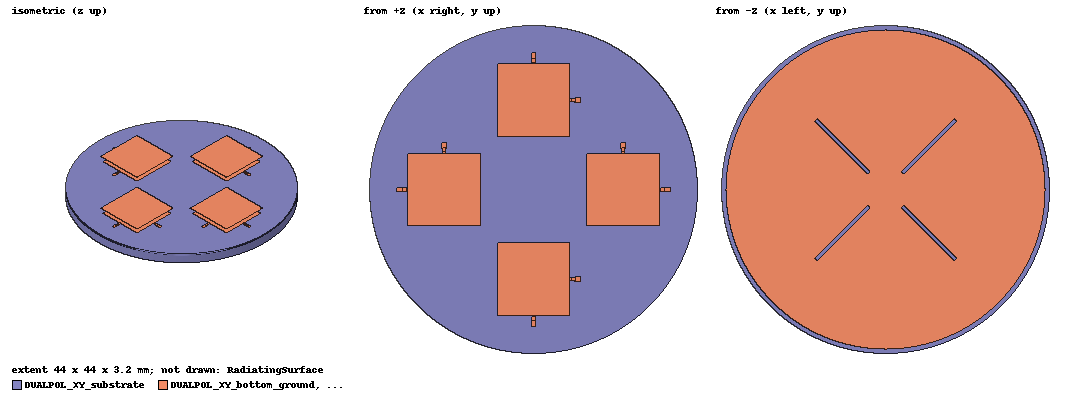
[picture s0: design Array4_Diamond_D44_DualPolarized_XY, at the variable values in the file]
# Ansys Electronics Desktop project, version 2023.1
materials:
  vacuum: permittivity=1
  RO4350B_custom_D44_Topology: permittivity=3.48 permeability=1 dielectric_loss_tangent=0.0037
  copper: permeability=0.999991 conductivity=58000000
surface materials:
  Steel-oxidised-surface

design Array4_Diamond_D44_DualPolarized_XY (HFSS, HFSS Modal Network, model units mm)
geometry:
  DUALPOL_XY_substrate [RO4350B_custom_D44_Topology] = cylinder(axis=Z, base_centre=(0mm, 0mm, 0mm), radius=22mm, height=2mm, segments=128)
  DUALPOL_XY_bottom_ground [copper] = circle(normal=Z, centre=(0mm, 0mm, 0mm), radius=21.4mm, segments=128)
  ground_isolation_slot_1 = polyline(z=0mm, xy in mm: (2.4112341, 2.1142493) (9.4823019, 9.1853171) (9.1853171, 9.4823019) (2.1142493, 2.4112341) (2.4112341, 2.1142493), closed, covered)
  ground_isolation_slot_2 = polyline(z=0mm, xy in mm: (-2.1142493, 2.4112341) (-9.1853171, 9.4823019) (-9.4823019, 9.1853171) (-2.4112341, 2.1142493) (-2.1142493, 2.4112341), closed, covered)
  ground_isolation_slot_3 = polyline(z=0mm, xy in mm: (-2.4112341, -2.1142493) (-9.4823019, -9.1853171) (-9.1853171, -9.4823019) (-2.1142493, -2.4112341) (-2.4112341, -2.1142493), closed, covered)
  ground_isolation_slot_4 = polyline(z=0mm, xy in mm: (2.1142493, -2.4112341) (9.1853171, -9.4823019) (9.4823019, -9.1853171) (2.4112341, -2.1142493) (2.1142493, -2.4112341), closed, covered)
  E1_dualfeed_square_patch [copper] = polyline(z=2mm, xy in mm: (7.4458153, -4.575) (16.595815, -4.575) (16.595815, 4.575) (7.4458153, 4.575) (7.4458153, -4.575), closed, covered)
  E1_dualpol_stacked_parasitic_patch [copper] = polyline(z=3.2mm, xy in mm: (7.1458153, -4.875) (16.895815, -4.875) (16.895815, 4.875) (7.1458153, 4.875) (7.1458153, -4.875), closed, covered)
  P1A_edge_match_section [copper] = polyline(z=2mm, xy in mm: (16.515815, -0.17) (17.075815, -0.17) (17.075815, 0.17) (16.515815, 0.17) (16.515815, -0.17), closed, covered)
  P1A_edge_transform_section [copper] = polyline(z=2mm, xy in mm: (16.995815, -0.25) (17.625815, -0.25) (17.625815, 0.25) (16.995815, 0.25) (16.995815, -0.25), closed, covered)
  P1A_edge_feedline [copper] = polyline(z=2mm, xy in mm: (17.545815, -0.29) (18.375815, -0.29) (18.375815, 0.29) (17.545815, 0.29) (17.545815, -0.29), closed, covered)
  P1A_lumped_port_sheet = polyline(x=18.375815mm, yz in mm: (-0.25, 0) (0.25, 0) (0.25, 2) (-0.25, 2) (-0.25, 0), closed, covered)
  P1B_edge_match_section [copper] = polyline(z=2mm, xy in mm: (11.850815, 4.495) (12.190815, 4.495) (12.190815, 5.055) (11.850815, 5.055) (11.850815, 4.495), closed, covered)
  P1B_edge_transform_section [copper] = polyline(z=2mm, xy in mm: (11.770815, 4.975) (12.270815, 4.975) (12.270815, 5.605) (11.770815, 5.605) (11.770815, 4.975), closed, covered)
  P1B_edge_feedline [copper] = polyline(z=2mm, xy in mm: (11.730815, 5.525) (12.310815, 5.525) (12.310815, 6.355) (11.730815, 6.355) (11.730815, 5.525), closed, covered)
  P1B_lumped_port_sheet = polyline(x=12.020815mm, yz in mm: (6.105, 0) (6.605, 0) (6.605, 2) (6.105, 2) (6.105, 0), closed, covered)
  E2_dualfeed_square_patch [copper] = polyline(z=2mm, xy in mm: (-4.575, 7.4458153) (4.575, 7.4458153) (4.575, 16.595815) (-4.575, 16.595815) (-4.575, 7.4458153), closed, covered)
  E2_dualpol_stacked_parasitic_patch [copper] = polyline(z=3.2mm, xy in mm: (-4.875, 7.1458153) (4.875, 7.1458153) (4.875, 16.895815) (-4.875, 16.895815) (-4.875, 7.1458153), closed, covered)
  P2A_edge_match_section [copper] = polyline(z=2mm, xy in mm: (4.495, 11.850815) (5.055, 11.850815) (5.055, 12.190815) (4.495, 12.190815) (4.495, 11.850815), closed, covered)
  P2A_edge_transform_section [copper] = polyline(z=2mm, xy in mm: (4.975, 11.770815) (5.605, 11.770815) (5.605, 12.270815) (4.975, 12.270815) (4.975, 11.770815), closed, covered)
  P2A_edge_feedline [copper] = polyline(z=2mm, xy in mm: (5.525, 11.730815) (6.355, 11.730815) (6.355, 12.310815) (5.525, 12.310815) (5.525, 11.730815), closed, covered)
  P2A_lumped_port_sheet = polyline(x=6.355mm, yz in mm: (11.770815, 0) (12.270815, 0) (12.270815, 2) (11.770815, 2) (11.770815, 0), closed, covered)
  P2B_edge_match_section [copper] = polyline(z=2mm, xy in mm: (-0.17, 16.515815) (0.17, 16.515815) (0.17, 17.075815) (-0.17, 17.075815) (-0.17, 16.515815), closed, covered)
  P2B_edge_transform_section [copper] = polyline(z=2mm, xy in mm: (-0.25, 16.995815) (0.25, 16.995815) (0.25, 17.625815) (-0.25, 17.625815) (-0.25, 16.995815), closed, covered)
  P2B_edge_feedline [copper] = polyline(z=2mm, xy in mm: (-0.29, 17.545815) (0.29, 17.545815) (0.29, 18.375815) (-0.29, 18.375815) (-0.29, 17.545815), closed, covered)
  P2B_lumped_port_sheet = polyline(x=7.3606265e-16mm, yz in mm: (18.125815, 0) (18.625815, 0) (18.625815, 2) (18.125815, 2) (18.125815, 0), closed, covered)
  E3_dualfeed_square_patch [copper] = polyline(z=2mm, xy in mm: (-16.595815, -4.575) (-7.4458153, -4.575) (-7.4458153, 4.575) (-16.595815, 4.575) (-16.595815, -4.575), closed, covered)
  E3_dualpol_stacked_parasitic_patch [copper] = polyline(z=3.2mm, xy in mm: (-16.895815, -4.875) (-7.1458153, -4.875) (-7.1458153, 4.875) (-16.895815, 4.875) (-16.895815, -4.875), closed, covered)
  P3A_edge_match_section [copper] = polyline(z=2mm, xy in mm: (-17.075815, -0.17) (-16.515815, -0.17) (-16.515815, 0.17) (-17.075815, 0.17) (-17.075815, -0.17), closed, covered)
  P3A_edge_transform_section [copper] = polyline(z=2mm, xy in mm: (-17.625815, -0.25) (-16.995815, -0.25) (-16.995815, 0.25) (-17.625815, 0.25) (-17.625815, -0.25), closed, covered)
  P3A_edge_feedline [copper] = polyline(z=2mm, xy in mm: (-18.375815, -0.29) (-17.545815, -0.29) (-17.545815, 0.29) (-18.375815, 0.29) (-18.375815, -0.29), closed, covered)
  P3A_lumped_port_sheet = polyline(x=-18.375815mm, yz in mm: (-0.25, 0) (0.25, 0) (0.25, 2) (-0.25, 2) (-0.25, 0), closed, covered)
  P3B_edge_match_section [copper] = polyline(z=2mm, xy in mm: (-12.190815, 4.495) (-11.850815, 4.495) (-11.850815, 5.055) (-12.190815, 5.055) (-12.190815, 4.495), closed, covered)
  P3B_edge_transform_section [copper] = polyline(z=2mm, xy in mm: (-12.270815, 4.975) (-11.770815, 4.975) (-11.770815, 5.605) (-12.270815, 5.605) (-12.270815, 4.975), closed, covered)
  P3B_edge_feedline [copper] = polyline(z=2mm, xy in mm: (-12.310815, 5.525) (-11.730815, 5.525) (-11.730815, 6.355) (-12.310815, 6.355) (-12.310815, 5.525), closed, covered)
  P3B_lumped_port_sheet = polyline(x=-12.020815mm, yz in mm: (6.105, 0) (6.605, 0) (6.605, 2) (6.105, 2) (6.105, 0), closed, covered)
  E4_dualfeed_square_patch [copper] = polyline(z=2mm, xy in mm: (-4.575, -16.595815) (4.575, -16.595815) (4.575, -7.4458153) (-4.575, -7.4458153) (-4.575, -16.595815), closed, covered)
  E4_dualpol_stacked_parasitic_patch [copper] = polyline(z=3.2mm, xy in mm: (-4.875, -16.895815) (4.875, -16.895815) (4.875, -7.1458153) (-4.875, -7.1458153) (-4.875, -16.895815), closed, covered)
  P4A_edge_match_section [copper] = polyline(z=2mm, xy in mm: (4.495, -12.190815) (5.055, -12.190815) (5.055, -11.850815) (4.495, -11.850815) (4.495, -12.190815), closed, covered)
  P4A_edge_transform_section [copper] = polyline(z=2mm, xy in mm: (4.975, -12.270815) (5.605, -12.270815) (5.605, -11.770815) (4.975, -11.770815) (4.975, -12.270815), closed, covered)
  P4A_edge_feedline [copper] = polyline(z=2mm, xy in mm: (5.525, -12.310815) (6.355, -12.310815) (6.355, -11.730815) (5.525, -11.730815) (5.525, -12.310815), closed, covered)
  P4A_lumped_port_sheet = polyline(x=6.355mm, yz in mm: (-12.270815, 0) (-11.770815, 0) (-11.770815, 2) (-12.270815, 2) (-12.270815, 0), closed, covered)
  P4B_edge_match_section [copper] = polyline(z=2mm, xy in mm: (-0.17, -17.075815) (0.17, -17.075815) (0.17, -16.515815) (-0.17, -16.515815) (-0.17, -17.075815), closed, covered)
  P4B_edge_transform_section [copper] = polyline(z=2mm, xy in mm: (-0.25, -17.625815) (0.25, -17.625815) (0.25, -16.995815) (-0.25, -16.995815) (-0.25, -17.625815), closed, covered)
  P4B_edge_feedline [copper] = polyline(z=2mm, xy in mm: (-0.29, -18.375815) (0.29, -18.375815) (0.29, -17.545815) (-0.29, -17.545815) (-0.29, -18.375815), closed, covered)
  P4B_lumped_port_sheet = polyline(x=-2.2081879e-15mm, yz in mm: (-18.625815, 0) (-18.125815, 0) (-18.125815, 2) (-18.625815, 2) (-18.625815, 0), closed, covered)
  DUALPOL_XY_bottom_ground.subtract(ground_isolation_slot_1..ground_isolation_slot_4)
  RadiatingSurface [vacuum] = region(absolute_offset=14.285714mm on all sides)
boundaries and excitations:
  DUALPOL_XY_PEC_metallization: Perfect E Objects=[DUALPOL_XY_bottom_ground, E1_dualfeed_square_patch, E1_dualpol_stacked_parasitic_patch, P1A_edge_match_section, P1A_edge_transform_section, P1A_edge_feedline, P1B_edge_match_section, P1B_edge_transform_section, P1B_edge_feedline, E2_dualfeed_square_patch, E2_dualpol_stacked_parasitic_patch, P2A_edge_match_section, P2A_edge_transform_section, P2A_edge_feedline, P2B_edge_match_section, P2B_edge_transform_section, P2B_edge_feedline, E3_dualfeed_square_patch, E3_dualpol_stacked_parasitic_patch, P3A_edge_match_section, P3A_edge_transform_section, P3A_edge_feedline, P3B_edge_match_section, P3B_edge_transform_section, P3B_edge_feedline, E4_dualfeed_square_patch, E4_dualpol_stacked_parasitic_patch, P4A_edge_match_section, P4A_edge_transform_section, P4A_edge_feedline, P4B_edge_match_section, P4B_edge_transform_section, P4B_edge_feedline]
  Open1: Radiation Objects=RadiatingSurface
  P1A: Lumped Port Objects=P1A_lumped_port_sheet LumpedPortType=Modal Modes{Mode1{IntLine{(18.375815, 0, 2) -> (18.375815, 0, 0)} CharImp=Zpi RenormImp=50ohm}} Impedance=50ohm
  P1B: Lumped Port Objects=P1B_lumped_port_sheet LumpedPortType=Modal Modes{Mode1{IntLine{(12.020815, 6.355, 2) -> (12.020815, 6.355, 0)} CharImp=Zpi RenormImp=50ohm}} Impedance=50ohm
  P2A: Lumped Port Objects=P2A_lumped_port_sheet LumpedPortType=Modal Modes{Mode1{IntLine{(6.355, 12.020815, 2) -> (6.355, 12.020815, 0)} CharImp=Zpi RenormImp=50ohm}} Impedance=50ohm
  P2B: Lumped Port Objects=P2B_lumped_port_sheet LumpedPortType=Modal Modes{Mode1{IntLine{(0, 18.375815, 2) -> (0, 18.375815, 0)} CharImp=Zpi RenormImp=50ohm}} Impedance=50ohm
  P3A: Lumped Port Objects=P3A_lumped_port_sheet LumpedPortType=Modal Modes{Mode1{IntLine{(-18.375815, 0, 2) -> (-18.375815, 0, 0)} CharImp=Zpi RenormImp=50ohm}} Impedance=50ohm
  P3B: Lumped Port Objects=P3B_lumped_port_sheet LumpedPortType=Modal Modes{Mode1{IntLine{(-12.020815, 6.355, 2) -> (-12.020815, 6.355, 0)} CharImp=Zpi RenormImp=50ohm}} Impedance=50ohm
  P4A: Lumped Port Objects=P4A_lumped_port_sheet LumpedPortType=Modal Modes{Mode1{IntLine{(6.355, -12.020815, 2) -> (6.355, -12.020815, 0)} CharImp=Zpi RenormImp=50ohm}} Impedance=50ohm
  P4B: Lumped Port Objects=P4B_lumped_port_sheet LumpedPortType=Modal Modes{Mode1{IntLine{(0, -18.375815, 2) -> (0, -18.375815, 0)} CharImp=Zpi RenormImp=50ohm}} Impedance=50ohm
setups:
  Setup_CH9: HfssDriven Frequency=8GHz MaxDeltaS=0.05 MaximumPasses=4 MinimumPasses=1 MinimumConvergedPasses=1 PercentRefinement=30 BasisOrder=1 PortAccuracy=2 DrivenSolverType="Direct Solver"
    sweep Sweep_CH9: 7.738GHz to 8.233GHz, 3 points; Type=Discrete SaveFields SaveRadFields
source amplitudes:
  P1A:1: 1W 0deg
  P1B:1, P2A:1, P2B:1, P3A:1, P3B:1, P4A:1, P4B:1: 0W 0deg
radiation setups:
  3D: Infinite Sphere Theta=0deg..180deg step 2deg Phi=-180deg..180deg step 2deg
  Elevation: Infinite Sphere Theta=-180deg..180deg step 1deg Phi=0deg..90deg step 90deg
  Azimuth: Infinite Sphere Theta=90deg..90deg step 0deg Phi=-180deg..180deg step 1deg
  Upper_Hemisphere_5deg: Infinite Sphere Theta=0deg..360deg step 5deg Phi=0deg..90deg step 5deg
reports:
  DUALPOL_XY_S_Parameters: dB(S(P1A:1,P1A:1)), dB(S(P4B:1,P4B:1)), dB(S(P2A:1,P2A:1)), dB(S(P3A:1,P3A:1)), dB(S(P2B:1,P2B:1)), dB(S(P3B:1,P3B:1)), dB(S(P4A:1,P4A:1)), dB(S(P1B:1,P1B:1)), dB(S(P1A:1,P4B:1)), dB(S(P1A:1,P2A:1)), dB(S(P1A:1,P3A:1)), dB(S(P1A:1,P2B:1)), dB(S(P1A:1,P3B:1)), dB(S(P1A:1,P4A:1)), dB(S(P1A:1,P1B:1)), dB(S(P4B:1,P1A:1)), dB(S(P4B:1,P2A:1)), dB(S(P4B:1,P3A:1)), dB(S(P4B:1,P2B:1)), dB(S(P4B:1,P3B:1)), dB(S(P4B:1,P4A:1)), dB(S(P4B:1,P1B:1)), dB(S(P2A:1,P1A:1)), dB(S(P2A:1,P4B:1)), dB(S(P2A:1,P3A:1)), dB(S(P2A:1,P2B:1)), dB(S(P2A:1,P3B:1)), dB(S(P2A:1,P4A:1)), dB(S(P2A:1,P1B:1)), dB(S(P3A:1,P1A:1)), dB(S(P3A:1,P4B:1)), dB(S(P3A:1,P2A:1)), dB(S(P3A:1,P2B:1)), dB(S(P3A:1,P3B:1)), dB(S(P3A:1,P4A:1)), dB(S(P3A:1,P1B:1)), dB(S(P2B:1,P1A:1)), dB(S(P2B:1,P4B:1)), dB(S(P2B:1,P2A:1)), dB(S(P2B:1,P3A:1))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 vs Freq on Setup_CH9 : Sweep_CH9
  DUALPOL_XY_GainTotal_8GHz: dB(GainTotal) vs Phi, Theta on Setup_CH9 : Sweep_CH9, Upper_Hemisphere_5deg [Freq=8GHz]
  DUALPOL_XY_AxialRatio_8GHz: AxialRatioValue vs Phi, Theta on Setup_CH9 : Sweep_CH9, Upper_Hemisphere_5deg [Freq=8GHz]
